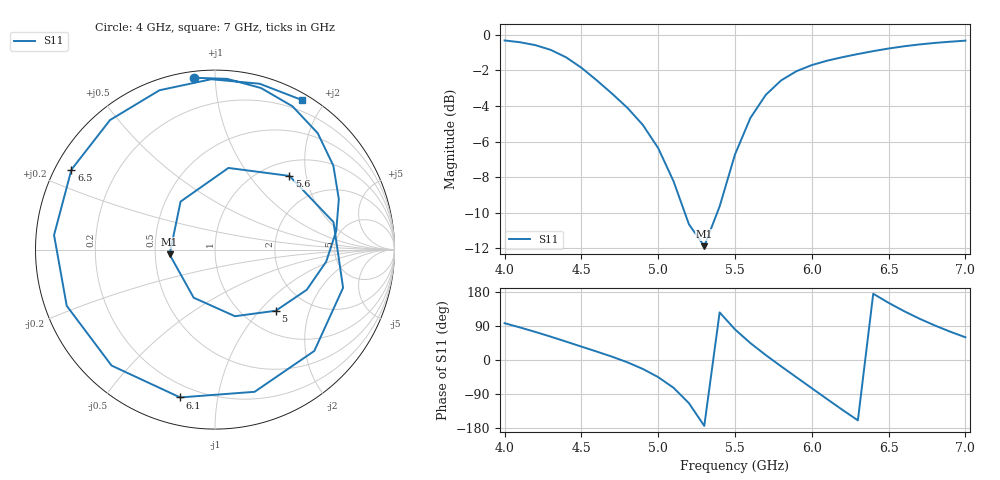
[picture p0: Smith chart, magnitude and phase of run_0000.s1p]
! Touchstone file exported from HFSS 2024.2.0
!  File:  C:/Users/wsak9/Desktop/Sim Fast/Widenad Patch/WP_AI_V1_sweep.aedt
!  Generated:  02:38:49 PM Oct 13, 2026
!  Design:  A1_model
!  Project:  WP_AI_V1_sweep
!  Setup:  Setup1
!  Solution:  Sweep
! Variables:
!  Air_gap = 4.01mm
!  Curve_Amp1 = 0.57
!  Curve_len1 = 1
!  Curve_pos = 11.125mm
!  Extra = 7.7mm
!  H_sub = 0.79mm
!  L_Patch = 18.25mm
!  L_Patch1 = 19.12mm
!  Sx = 1.85mm
!  Sy = 3.19mm
!  WS = 0.4mm
!  W_Patch = 14.95mm
!  W_Patch1 = 11.42mm
!Data is not renormalized
# GHz S MA
! Terminal data exported
! Port[1] = 1
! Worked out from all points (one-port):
!   31 points, 4 GHz to 7 GHz, reference per port
!   lowest |S11| = -11.9 dB at 5.3 GHz (marker M1), VSWR 1.68
!   |S11| at or under -10 dB: 5.173 GHz to 5.384 GHz (211.6 MHz wide, 4.01 % of centre)
!   S11 on the Smith chart (normalised r, x): 4 GHz: 0.03, +0.88; 5 GHz: 1.39, -1.23; 5.6 GHz: 1.29, +1.61; 6.1 GHz: 0.13, -0.78; 6.5 GHz: 0.05, +0.26; 7 GHz: 0.07, +1.73
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4  0.9648 97.1
4.2  0.936 74.1
4.4  0.8651 48.6
4.5  0.8085 35.4
4.6  0.7452 22.2
4.8  0.6232 -6.2
4.9  0.5581 -23.7
5  0.4803 -45.2
5.1  0.3873 -73.3
5.2  0.2932 -113.9
5.3  0.2544 -173.9
5.4  0.3292 125.6
5.5  0.461 80.7
5.6  0.5837 44.7
5.7  0.6778 13.1
5.8  0.7447 -16.6
5.9  0.7905 -45.6
6  0.8225 -74.4
6.1  0.8463 -103.3
6.2  0.8658 -131.7
6.3  0.8835 -159.2
6.4  0.9003 174.8
6.5  0.9157 150.9
6.6  0.929 129.0
6.7  0.9401 109.2
6.8  0.9493 91.3
6.9  0.957 74.9
7  0.9635 60.0
